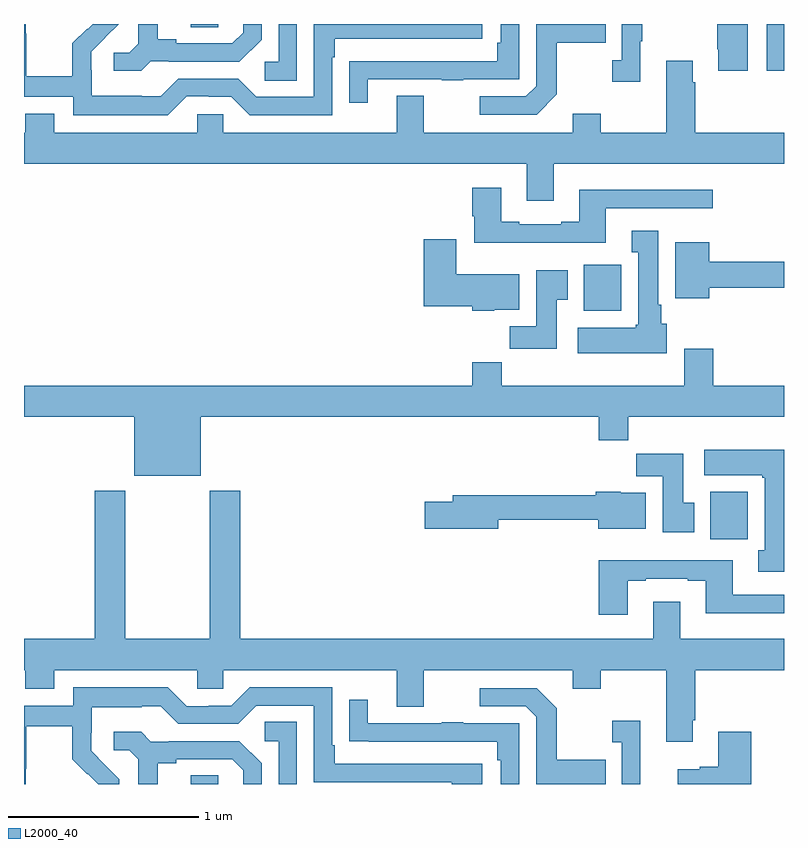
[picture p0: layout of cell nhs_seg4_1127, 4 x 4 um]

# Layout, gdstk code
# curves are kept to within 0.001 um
import gdstk
lib = gdstk.Library(unit=1e-6, precision=1e-09)
def R(c, l, rs):  # rectangles x0, y0, x1, y1
    for r in rs: c.add(gdstk.rectangle(r[:2], r[2:], *l))
def P(c, l, *ps):  # polygons
    for p in ps: c.add(gdstk.Polygon(p, *l))
L2000_40 = (2000, 40)

nhs_seg4_1127 = lib.new_cell('nhs_seg4_1127')
R(nhs_seg4_1127, L2000_40, [(169.877,782.9,170.022,782.945), (172.613,784.188,172.809,784.438), (171.947,785.39,172.144,785.632), (172.91,786.654,173,786.9), (169.877,786.883,170.022,786.9)])
P(nhs_seg4_1127, L2000_40, [(172.81,786.9),(172.648,786.9),(172.648,786.766),(172.655,786.766),(172.655,786.654),(172.81,786.654)],
  [(169.668,786.705),(169.762,786.705),(169.762,786.702),(170.134,786.702),(170.25,786.818),(170.25,786.9),(170.153,786.9),(170.153,786.855),(170.096,786.798),(169.801,786.798),(169.801,786.821),(169.705,786.821),(169.705,786.9),(169.601,786.9),(169.601,786.797),(169.554,786.75),(169.473,786.75),(169.473,786.653),(169.616,786.653)],
  [(169.857,786.519),(169.973,786.519),(169.973,786.516),(170.091,786.516),(170.187,786.42),(170.622,786.42),(170.622,786.725),(170.635,786.725),(170.635,786.822),(171.412,786.822),(171.412,786.9),(170.526,786.9),(170.526,786.516),(170.223,786.516),(170.127,786.612),(169.812,786.612),(169.719,786.519),(169.619,786.519),(169.619,786.523),(169.356,786.523),(169.356,786.657),(169.354,786.657),(169.354,786.754),(169.498,786.9),(169.362,786.9),(169.335,786.873),(169.332,786.876),(169.255,786.799),(169.255,786.625),(169.011,786.625),(169.011,786.848),(169.008,786.848),(169.008,786.9),(169,786.9),(169,786.516),(169.26,786.516),(169.26,786.419),(169.757,786.419)],
  [(171.805,786.529),(171.805,786.802),(172.061,786.802),(172.061,786.9),(171.696,786.9),(171.696,786.573),(171.642,786.519),(171.399,786.519),(171.399,786.423),(171.699,786.423)],
  [(170.809,786.609),(171.199,786.609),(171.199,786.604),(171.311,786.604),(171.311,786.609),(171.606,786.609),(171.606,786.9),(171.51,786.9),(171.51,786.802),(171.49,786.802),(171.49,786.705),(170.815,786.705),(170.815,786.704),(170.713,786.704),(170.713,786.486),(170.809,786.486)],
  [(172.243,786.809),(172.255,786.809),(172.255,786.9),(172.146,786.9),(172.146,786.71),(172.095,786.71),(172.095,786.597),(172.243,786.597)],
  [(170.436,786.9),(170.34,786.9),(170.34,786.702),(170.268,786.702),(170.268,786.601),(170.436,786.601)],
  [(171.787,786.164),(173,786.164),(173,786.328),(172.532,786.328),(172.532,786.593),(172.519,786.593),(172.519,786.706),(172.379,786.706),(172.379,786.328),(172.035,786.328),(172.035,786.427),(171.887,786.427),(171.887,786.328),(171.103,786.328),(171.103,786.523),(170.963,786.523),(170.963,786.328),(170.049,786.328),(170.049,786.426),(169.911,786.426),(169.911,786.328),(169.159,786.328),(169.159,786.427),(169.007,786.427),(169.007,786.328),(169,786.328),(169,786.164),(171.647,786.164),(171.647,785.97),(171.787,785.97)],
  [(172.063,785.931),(172.624,785.931),(172.624,786.028),(171.923,786.028),(171.923,785.86),(171.827,785.86),(171.827,785.847),(171.607,785.847),(171.607,785.86),(171.511,785.86),(171.511,786.037),(171.359,786.037),(171.359,785.889),(171.371,785.889),(171.371,785.75),(172.063,785.75)],
  [(172.384,785.322),(172.354,785.322),(172.354,785.422),(172.339,785.422),(172.339,785.812),(172.199,785.812),(172.199,785.699),(172.232,785.699),(172.232,785.316),(172.219,785.316),(172.219,785.302),(171.915,785.302),(171.915,785.168),(172.384,785.168)],
  [(171.474,785.396),(171.607,785.396),(171.607,785.584),(171.274,785.584),(171.274,785.767),(171.104,785.767),(171.104,785.414),(171.36,785.414),(171.36,785.39),(171.474,785.39)],
  [(172.606,785.512),(173,785.512),(173,785.648),(172.606,785.648),(172.606,785.752),(172.427,785.752),(172.427,785.456),(172.606,785.456)],
  [(171.805,785.449),(171.862,785.449),(171.862,785.605),(171.695,785.605),(171.695,785.308),(171.556,785.308),(171.556,785.19),(171.805,785.19)],
  [(169.93,784.832),(172.025,784.832),(172.025,784.708),(172.181,784.708),(172.181,784.832),(173,784.832),(173,784.996),(172.628,784.996),(172.628,785.191),(172.475,785.191),(172.475,784.996),(171.515,784.996),(171.515,785.12),(171.359,785.12),(171.359,784.996),(169,784.996),(169,784.832),(169.58,784.832),(169.58,784.523),(169.93,784.523)],
  [(173,784.66),(172.581,784.66),(172.581,784.526),(172.885,784.526),(172.885,784.513),(172.898,784.513),(172.898,784.129),(172.865,784.129),(172.865,784.017),(173,784.017)],
  [(172.528,784.38),(172.471,784.38),(172.471,784.639),(172.222,784.639),(172.222,784.52),(172.361,784.52),(172.361,784.224),(172.528,784.224)],
  [(172.519,783.235),(172.532,783.235),(172.532,783.5),(173,783.5),(173,783.664),(172.453,783.664),(172.453,783.859),(172.313,783.859),(172.313,783.664),(170.138,783.664),(170.138,784.444),(169.978,784.444),(169.978,783.664),(169.533,783.664),(169.533,784.444),(169.373,784.444),(169.373,783.664),(169,783.664),(169,783.5),(169.007,783.5),(169.007,783.401),(169.159,783.401),(169.159,783.5),(169.911,783.5),(169.911,783.402),(170.049,783.402),(170.049,783.5),(170.963,783.5),(170.963,783.306),(171.103,783.306),(171.103,783.5),(171.887,783.5),(171.887,783.401),(172.035,783.401),(172.035,783.5),(172.379,783.5),(172.379,783.123),(172.519,783.123)],
  [(171.496,784.291),(172.022,784.291),(172.022,784.244),(172.273,784.244),(172.273,784.432),(172.14,784.432),(172.14,784.438),(172.01,784.438),(172.01,784.42),(171.257,784.42),(171.257,784.386),(171.108,784.386),(171.108,784.244),(171.496,784.244)],
  [(172.177,783.969),(172.273,783.969),(172.273,783.981),(172.493,783.981),(172.493,783.969),(172.589,783.969),(172.589,783.8),(173,783.8),(173,783.897),(172.729,783.897),(172.729,784.078),(172.025,784.078),(172.025,783.792),(172.177,783.792)],
  [(169.008,782.98),(169.011,782.98),(169.011,783.204),(169.255,783.204),(169.255,783.029),(169.332,782.952),(169.335,782.955),(169.391,782.9),(169.5,782.9),(169.5,782.926),(169.354,783.074),(169.354,783.171),(169.356,783.171),(169.356,783.305),(169.619,783.305),(169.619,783.309),(169.719,783.309),(169.812,783.216),(170.127,783.216),(170.223,783.312),(170.526,783.312),(170.526,782.91),(171.251,782.91),(171.251,782.9),(171.412,782.9),(171.412,783.006),(170.635,783.006),(170.635,783.103),(170.622,783.103),(170.622,783.408),(170.187,783.408),(170.091,783.312),(169.973,783.312),(169.973,783.309),(169.857,783.309),(169.757,783.409),(169.26,783.409),(169.26,783.312),(169,783.312),(169,782.9),(169.008,782.9)],
  [(172.061,783.027),(171.805,783.027),(171.805,783.299),(171.699,783.405),(171.399,783.405),(171.399,783.309),(171.642,783.309),(171.696,783.255),(171.696,782.9),(172.061,782.9)],
  [(171.606,783.219),(171.311,783.219),(171.311,783.224),(171.199,783.224),(171.199,783.219),(170.809,783.219),(170.809,783.343),(170.713,783.343),(170.713,783.124),(170.815,783.124),(170.815,783.123),(171.49,783.123),(171.49,783.026),(171.51,783.026),(171.51,782.9),(171.606,782.9)],
  [(172.244,783.232),(172.095,783.232),(172.095,783.119),(172.146,783.119),(172.146,782.9),(172.244,782.9)],
  [(170.436,783.227),(170.268,783.227),(170.268,783.126),(170.34,783.126),(170.34,782.9),(170.436,782.9)],
  [(169.705,783.008),(169.801,783.008),(169.801,783.03),(170.096,783.03),(170.153,782.973),(170.153,782.9),(170.25,782.9),(170.25,783.01),(170.134,783.126),(169.762,783.126),(169.762,783.123),(169.668,783.123),(169.616,783.175),(169.473,783.175),(169.473,783.078),(169.554,783.078),(169.601,783.031),(169.601,782.9),(169.705,782.9)],
  [(172.828,783.175),(172.655,783.175),(172.655,782.99),(172.556,782.99),(172.556,782.977),(172.44,782.977),(172.44,782.9),(172.828,782.9)])

lib.write_gds('nhs_seg4_1127.gds')
